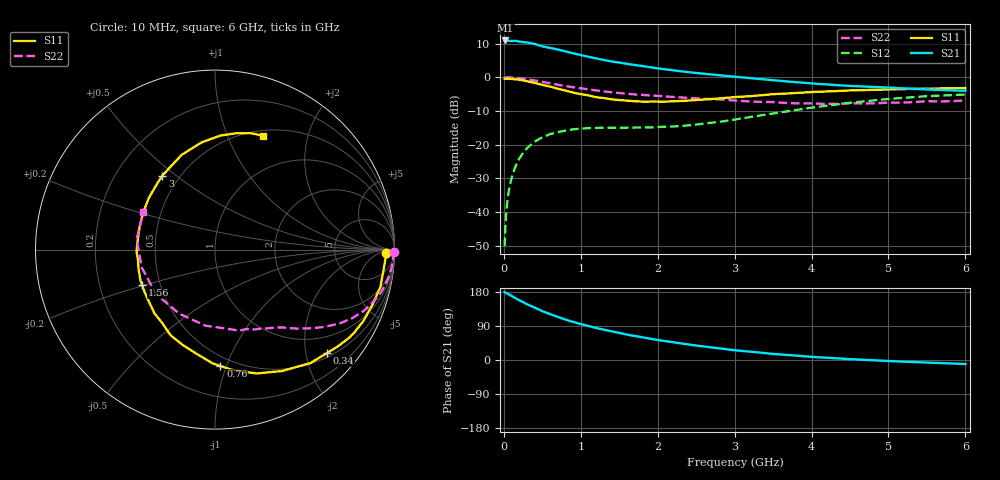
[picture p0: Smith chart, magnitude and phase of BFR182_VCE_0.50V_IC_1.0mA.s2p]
! Infineon Technologies  Discrete & RF Semiconductors
! BFR182
! VCE = 0.50 V,  IC =  1.0 mA
! Common Emitter S-Parameters:  Nov 2015
# GHz  S  MA  R  50
!  f  S11  S21  S12  S22
! GHz  MAG  ANG  MAG  ANG  MAG  ANG  MAG  ANG
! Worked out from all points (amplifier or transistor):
!   210 points, 10 MHz to 6 GHz, reference 50 ohm
!   highest |S21| = 10.9 dB at 20 MHz (marker M1)
!   |S21| within 3 dB of that: start of sweep to 757.2 MHz
!   unconditionally stable (mu >= 1): 1.673 GHz to 3.966 GHz; 5.625 GHz to end of sweep
!   at 185 MHz: K = 0.13, MSG = 17.8 dB, |S12| = -24.9 dB
!   at 1.52 GHz: K = 0.93, MSG = 9.7 dB, |S12| = -15.0 dB
!   at 6 GHz: K = 1.02, MAG = -0.3 dB, |S12| = -5.1 dB
!   S11 on the Smith chart (normalised r, x): 10 MHz: 34, -15; 340 MHz: 0.59, -2.43; 760 MHz: 0.43, -0.95; 1.56 GHz: 0.39, -0.20; 3 GHz: 0.40, +0.45; 6 GHz: 0.56, +1.36
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0.01  0.952 -1.3  3.459 179.2  0.0031 87.1  0.9969 -0.7
0.02  0.9523 -2.4  3.51 177.7  0.006 90.3  0.9897 -1.2
0.03  0.9498 -3.8  3.499 176.7  0.0093 88.1  0.9909 -1.8
0.05  0.9465 -6.5  3.479 174.6  0.0159 86.4  0.9937 -3.0
0.11  0.9407 -14.2  3.443 168.2  0.0346 81.0  0.9868 -6.7
0.155  0.9275 -19.9  3.461 162.5  0.0484 77.0  0.9781 -9.5
0.3  0.8716 -38.2  3.284 147.3  0.0877 66.7  0.9336 -17.6
0.34  0.849 -42.8  3.21 143.8  0.0966 63.6  0.9184 -19.4
0.4  0.8258 -50.0  3.123 138.3  0.1104 59.9  0.8974 -22.3
0.54  0.7518 -65.1  2.806 125.9  0.1338 51.7  0.8375 -27.9
0.7  0.6771 -81.9  2.589 113.6  0.153 44.4  0.7718 -33.2
0.76  0.6494 -87.3  2.48 109.6  0.158 42.1  0.7515 -34.7
0.9  0.5906 -99.8  2.267 100.3  0.1687 37.8  0.7103 -37.9
1.02  0.555 -110.5  2.1 93.9  0.173 34.6  0.6772 -40.4
1.22  0.5011 -126.9  1.88 83.6  0.1773 30.9  0.6317 -44.2
1.56  0.4518 -153.9  1.605 69.0  0.1777 29.1  0.5731 -49.2
2.02  0.434 174.2  1.341 52.2  0.1825 31.7  0.5273 -56.3
3  0.5061 125.5  1.018 25.8  0.2341 42.7  0.4503 -79.4
3.1  0.5134 122.0  0.992 24.0  0.245 42.9  0.4424 -82.8
4.1  0.6074 95.1  0.793 7.2  0.3655 39.2  0.4038 -124.1
5.1  0.6627 78.2  0.692 -3.6  0.4844 26.1  0.4194 -170.6
6  0.6887 66.9  0.629 -10.6  0.5535 11.8  0.4509 152.7
